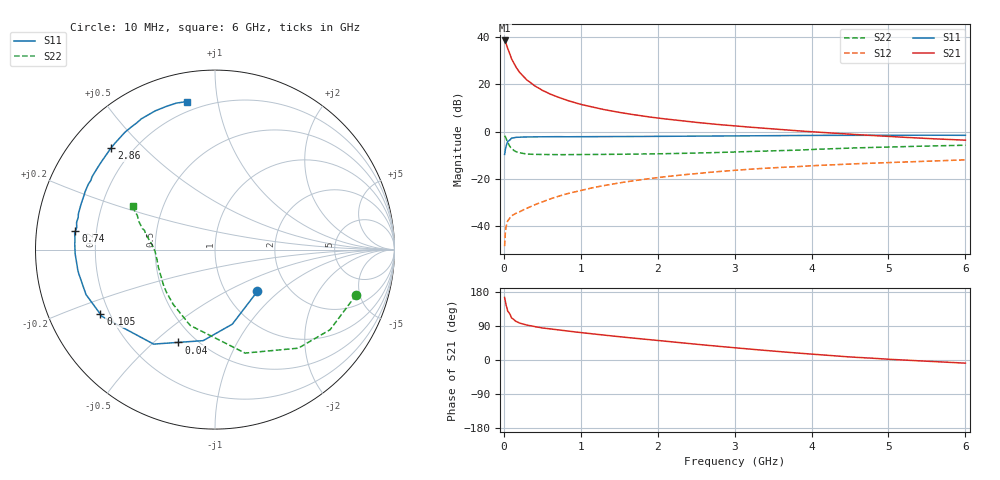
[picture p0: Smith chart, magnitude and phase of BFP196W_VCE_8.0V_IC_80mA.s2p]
! Infineon Technologies  Discrete & RF Semiconductors
! BFP196W
! VCE = 8.0 V,  IC =  80mA
! Common Emitter S-Parameters:  Jan 2016
# GHz  S  MA  R  50
!  f  S11  S21  S12  S22
! GHz  MAG  ANG  MAG  ANG  MAG  ANG  MAG  ANG
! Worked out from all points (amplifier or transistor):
!   210 points, 10 MHz to 6 GHz, reference 50 ohm
!   highest |S21| = 38.6 dB at 10 MHz (marker M1)
!   |S21| within 3 dB of that: start of sweep to 45.94 MHz
!   unconditionally stable (mu >= 1): 559.1 MHz to 3.894 GHz
!   at 185 MHz: K = 0.62, MSG = 30.1 dB, |S12| = -34.2 dB
!   at 1.52 GHz: K = 1.11, MAG = 12.8 dB, |S12| = -21.6 dB
!   at 6 GHz: K = 0.97, MSG = 4.2 dB, |S12| = -11.9 dB
!   S11 on the Smith chart (normalised r, x): 10 MHz: 1.40, -0.73; 40 MHz: 0.40, -0.60; 105 MHz: 0.16, -0.26; 740 MHz: 0.12, +0.07; 2.86 GHz: 0.12, +0.40; 6 GHz: 0.15, +0.82
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0.01  0.3314 -44.5  85.08 165.0  0.0038 74.2  0.8257 -17.8
0.02  0.4264 -76.9  80.45 154.2  0.0074 66.5  0.7814 -34.8
0.03  0.5116 -97.4  72.87 144.2  0.01 59.1  0.7191 -49.8
0.04  0.5557 -111.5  64.62 137.5  0.0115 53.1  0.6454 -60.7
0.05  0.6278 -123.0  57.48 129.1  0.013 48.5  0.6003 -73.8
0.1  0.7313 -149.4  34.75 111.1  0.0166 40.1  0.4443 -108.2
0.105  0.7329 -150.6  33.67 110.5  0.0168 40.2  0.4363 -109.8
0.15  0.7611 -160.8  24.19 102.5  0.0185 41.0  0.3839 -127.3
0.2  0.7652 -166.8  18.36 97.8  0.0201 43.0  0.3597 -138.8
0.24  0.771 -170.1  15.56 95.2  0.0217 45.4  0.3499 -144.5
0.3  0.7735 -173.8  12.37 92.1  0.024 48.7  0.3376 -151.8
0.4  0.7794 -178.2  9.341 88.0  0.0284 53.4  0.3321 -158.5
0.5  0.7818 178.3  7.511 84.6  0.0328 56.6  0.3305 -163.1
0.74  0.7844 172.3  5.137 78.5  0.0446 60.6  0.3273 -169.4
1.02  0.7837 166.6  3.722 72.0  0.0585 62.2  0.3296 -173.6
1.4  0.789 159.5  2.741 63.6  0.0776 61.7  0.3332 -177.2
2.02  0.7962 149.0  1.929 51.0  0.1082 57.9  0.3415 178.4
2.86  0.8099 135.5  1.386 34.9  0.1467 50.8  0.3667 172.5
3.1  0.8155 131.9  1.285 30.6  0.1569 48.4  0.3771 170.4
4.1  0.8365 118.2  0.976 14.1  0.194 39.7  0.4276 163.0
5.1  0.8427 107.9  0.778 1.0  0.2259 31.7  0.4783 155.8
6  0.8396 100.7  0.663 -8.3  0.2542 25.5  0.518 152.1
